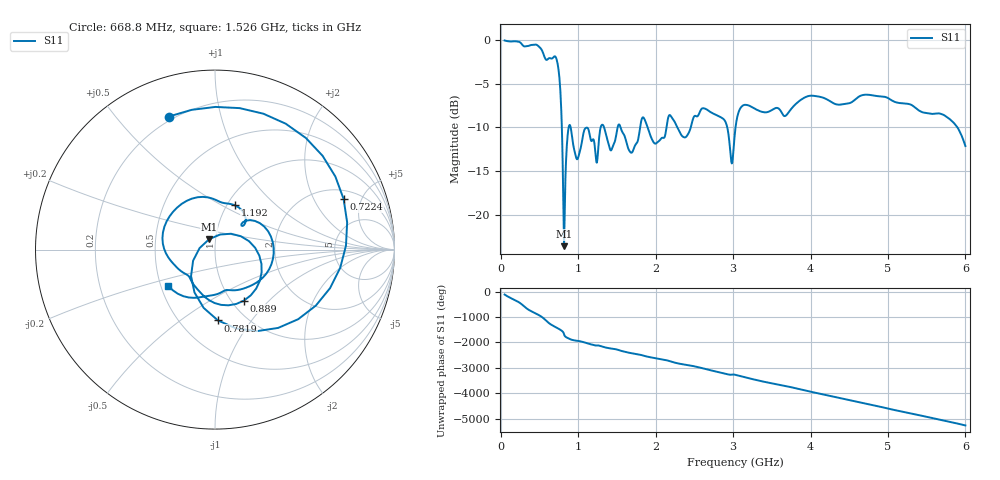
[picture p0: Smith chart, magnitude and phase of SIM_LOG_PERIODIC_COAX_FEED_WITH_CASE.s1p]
! TOUCHSTONE file generated by CST MICROWAVE STUDIO
! Date and time: Sat Jan  3 18:24:45 2026
! Project name: PCB_LOG_PERIODIC.cst
! Parameters = {bowtie_linear_scaling_factor=0.85; bowtie_spacing=200; cnd_off1=0.25; cnd_off2=0.5; cnd_off3=1.5; copper_thickness=0.035; dielectric_eps=4.6; dielectric_thickness=1.5; feed_cut_len=1.5; feed_line_length=205; feed_line_width=4; first_bowtie_length=60; first_bowtie_pos_offset=30; first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
! Header version: 2024
! Port assignment regex: !\s*Touchstone port\s*([0-9]+)\s*=\s*(CST MWS port|CST DES external port|CST DES block port)\s*(.+)\s* \(\"(.*)\"\)(\s*mode\s*([0-9]+))?.*
! Touchstone port assignment:
! Touchstone port 1 = CST MWS port 1 ("")
# GHz S MA R 50
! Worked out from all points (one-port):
!   1001 points, 50 MHz to 6 GHz, reference 50 ohm
!   lowest |S11| = -23.6 dB at 817.5 MHz (marker M1), VSWR 1.14, Z = 46.5 + j5.41 ohm
!   |S11| at or under -10 dB: 902.8 MHz to 1.29 GHz (387.6 MHz wide, 35.3 % of centre); 1.547 GHz to 1.8 GHz (252.2 MHz wide, 15.1 % of centre); 1.897 GHz to 2.141 GHz (243.7 MHz wide, 12.1 % of centre)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
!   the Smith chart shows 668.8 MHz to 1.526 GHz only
!   S11 on the Smith chart (normalised r, x): 668.8 MHz: 0.18, +0.70; 722.4 MHz: 2.55, +3.53; 781.9 MHz: 0.75, -0.70; 889 MHz: 1.14, -0.72; 1.192 GHz: 1.09, +0.58; 1.526 GHz: 0.55, -0.25
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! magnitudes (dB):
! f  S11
! 50 MHz  -0.1
! 668.8 MHz  -2.1
! 722.4 MHz  -2.3
! 758 MHz  -4.4
! 781.9 MHz  -8.1
! 793.8 MHz  -11.6
! 817.5 MHz  -23.6
! 889 MHz  -9.7
! 984.1 MHz  -13.6
! 1.097 GHz  -10.1
! 1.192 GHz  -11.4
! 1.317 GHz  -9.7
! 1.43 GHz  -12.6
! 1.526 GHz  -9.7
! 1.538 GHz  -9.8
! 1.68 GHz  -12.9
! 1.841 GHz  -8.9
! 1.996 GHz  -11.8
! 2.281 GHz  -10.0
! 2.626 GHz  -7.8
! 2.888 GHz  -9.2
! 2.977 GHz  -13.9
! 3.025 GHz  -10.5
! 3.138 GHz  -7.5
! 3.769 GHz  -7.7
! 4.513 GHz  -7.2
! 5.256 GHz  -7.3
! 6 GHz  -12.1
